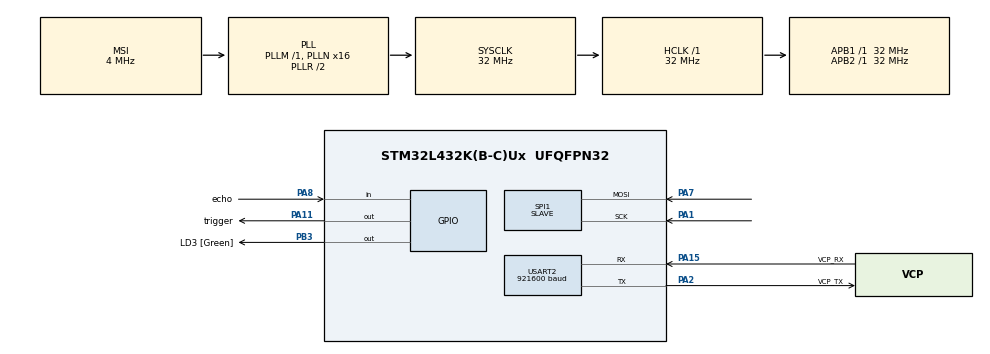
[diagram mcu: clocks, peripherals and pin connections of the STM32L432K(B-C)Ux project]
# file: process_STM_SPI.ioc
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Mcu.Family=STM32L4
Mcu.Name=STM32L432K(B-C)Ux
Mcu.Package=UFQFPN32
NVIC.PriorityGroup=NVIC_PRIORITYGROUP_4
NVIC.SPI1_IRQn=true\:0\:0\:false\:false\:true\:true\:true\:true
NVIC.USART2_IRQn=true\:0\:0\:false\:false\:true\:true\:true\:true
PA0.GPIO_Label=MCO [High speed clock in]
PA0.Mode=HSE-External-Clock-Source-for-LittleOrca
PA0.Signal=RCC_CK_IN
PA1.Mode=RX_Only_Simplex_Unidirect_Slave
PA1.Signal=SPI1_SCK
PA11.GPIO_Label=trigger
PA11.Signal=GPIO_Output
PA13\ (JTMS-SWDIO).GPIO_Label=SWDIO
PA13\ (JTMS-SWDIO).Mode=Serial_Wire
PA13\ (JTMS-SWDIO).Signal=SYS_JTMS-SWDIO
PA14\ (JTCK-SWCLK).GPIO_Label=SWCLK
PA14\ (JTCK-SWCLK).Mode=Serial_Wire
PA14\ (JTCK-SWCLK).Signal=SYS_JTCK-SWCLK
PA15\ (JTDI).GPIO_Label=VCP_RX
PA15\ (JTDI).Mode=Asynchronous
PA15\ (JTDI).Signal=USART2_RX
PA2.GPIO_Label=VCP_TX
PA2.Mode=Asynchronous
PA2.Signal=USART2_TX
PA7.Mode=RX_Only_Simplex_Unidirect_Slave
PA7.Signal=SPI1_MOSI
PA8.GPIO_Label=echo
PA8.Signal=GPIO_Input
PB3\ (JTDO-TRACESWO).GPIO_Label=LD3 [Green]
PB3\ (JTDO-TRACESWO).Signal=GPIO_Output
PC14-OSC32_IN\ (PC14).Mode=LSE-External-Oscillator
PC14-OSC32_IN\ (PC14).Signal=RCC_OSC32_IN
PC15-OSC32_OUT\ (PC15).Mode=LSE-External-Oscillator
PC15-OSC32_OUT\ (PC15).Signal=RCC_OSC32_OUT
ProjectManager.HeapSize=0x200
ProjectManager.StackSize=0x400
ProjectManager.TargetToolchain=STM32CubeIDE
RCC.AHBFreq_Value=32000000
RCC.APB1Freq_Value=32000000
RCC.APB1TimFreq_Value=32000000
RCC.APB2Freq_Value=32000000
RCC.APB2TimFreq_Value=32000000
RCC.CortexFreq_Value=32000000
RCC.HCLKFreq_Value=32000000
RCC.HSE_VALUE=8000000
RCC.HSI16_VALUE=16000000
RCC.HSI48_VALUE=48000000
RCC.HSI_VALUE=16000000
RCC.MSI_VALUE=4000000
RCC.PLLMUL=RCC_PLLMUL_4
RCC.PLLN=16
RCC.SYSCLKFreq_VALUE=32000000
RCC.SYSCLKSource=RCC_SYSCLKSOURCE_PLLCLK
RCC.VCOOutputFreq_Value=64000000
SPI1.DataSize=SPI_DATASIZE_12BIT
SPI1.Direction=SPI_DIRECTION_2LINES_RXONLY
SPI1.Mode=SPI_MODE_SLAVE
SPI1.VirtualType=VM_SLAVE
TIM16.Prescaler=31
USART2.BaudRate=921600
USART2.VirtualMode-Asynchronous=VM_ASYNC
VP_TIM16_VS_ClockSourceINT.Mode=Enable_Timer
board=NUCLEO-L432KC

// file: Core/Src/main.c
/* USER CODE BEGIN Header */
/**
  ******************************************************************************
  * @file           : main.c
  * @brief          : Main program body
  ******************************************************************************
  * @attention
  *
  * Copyright (c) 2026 STMicroelectronics.
  * All rights reserved.
  *
  * This software is licensed under terms that can be found in the LICENSE file
  * in the root directory of this software component.
  * If no LICENSE file comes with this software, it is provided AS-IS.
  *
  ******************************************************************************
  */
/* USER CODE END Header */
#include "main.h"

SPI_HandleTypeDef hspi1;

TIM_HandleTypeDef htim16;

UART_HandleTypeDef huart2;

/* USER CODE BEGIN PV */
#define MAX_LEN 1000
#define MOVING_LEN 10
#define OUTLIER 2048

uint8_t buffer[2][MAX_LEN];
int SPI_rec = 0;
int UART_trans;
int buffer_index = 0;
uint16_t received_byte[2];
int is_UARTING = 0;
int buffer_flag = 0;
//uint32_t average_sum = 0;

int is_distanceTrigger = 0;
int is_sendValid = 1;
uint16_t average_array[MOVING_LEN] = {0};
uint8_t comp_buffer;

/* USER CODE END PV */

void SystemClock_Config(void);
static void MX_GPIO_Init(void);
static void MX_USART2_UART_Init(void);
static void MX_SPI1_Init(void);
static void MX_TIM16_Init(void);

/* USER CODE BEGIN 0 */
/*
uint8_t get_average(uint16_t array[], int len, uint16_t value){
	 for(int i = 1; i < len; i++){
	        array[i-1] = array[i];
	    }
	 array[len-1] = value;
    uint32_t sum = 0;
    for (int i = 0; i < len; i++){
        sum += array[i];
    }
    uint16_t average = sum/len;
    return (uint8_t)average;
}

void change_array(uint16_t array[], int len, uint16_t value){
    for(int i = 1; i < len; i++){
        array[i-1] = array[i];
    }
    array[len-1] = value;
}
*/
void HAL_SPI_RxCpltCallback(SPI_HandleTypeDef *hspi){

	if (buffer_index < MAX_LEN){
		//get average in line due to it being faster than calling functions as no jumping is required
		uint16_t down_sample = (received_byte[0] + received_byte[1])/2;
		if(abs((int)down_sample-OUTLIER) > 2000){
			buffer[SPI_rec][buffer_index] = (uint8_t)(128);

		}else{
		uint32_t average_sum = down_sample;
		for (int i = 0; i<MOVING_LEN-1; i++){
			average_sum += average_array[i];
			average_array[i]= average_array[i+1];
		}
		average_array[MOVING_LEN-1] = down_sample;

		//1 array 2 buffers, SPI_rec switches between 1 and 0 depending on which one is being
		//UARTed (got idea of using a 2 index array instead of 2 separate arrays but implementation is my own)
		buffer[SPI_rec][buffer_index] = (uint8_t)((average_sum/MOVING_LEN)>>4);
		}

		buffer_index++;
	}
	//buffer is full check that UARTing is complete
	if(buffer_index >= MAX_LEN && is_sendValid == 1 && is_UARTING == 0){
		//raise buffer flag so CPU knows it can start UARTing again
		buffer_flag = 1;
		//switch array to receive into
		SPI_rec = SPI_rec ^1;
		//buffer index goes back to 0
		buffer_index = 0;

		}
	//call spi receive again so that interrupt will fire again
	HAL_SPI_Receive_IT(&hspi1, received_byte, 2);

}

void HAL_UART_TxCpltCallback(UART_HandleTypeDef *huart){
	//let SPI callback know that it can switch the arrays
	is_UARTING = 0;

}

void HAL_UART_RxCpltCallback(UART_HandleTypeDef *huart){
	//receiving this means the user is deciding between distance trigger mode and regular
	HAL_UART_Receive_IT(&huart2, &comp_buffer, 1);
	//buffer_index = 0;
	//distance trigger logic
	if (comp_buffer == '1'){

		is_distanceTrigger = 1;
	}else{
		is_distanceTrigger = 0;
		is_sendValid = 1;
	}

}

/* USER CODE END 0 */

int main(void)
{

  /* MCU Configuration--------------------------------------------------------*/

  /* Reset of all peripherals, Initializes the Flash interface and the Systick. */
  HAL_Init();

  /* Configure the system clock */
  SystemClock_Config();

  /* Initialize all configured peripherals */
  MX_GPIO_Init();
  MX_USART2_UART_Init();
  MX_SPI1_Init();
  MX_TIM16_Init();

  /* Infinite loop */
  /* USER CODE BEGIN WHILE */
  //start timers, start interrupt functions initialise US sensor variables
	HAL_UART_Receive_IT(&huart2, &comp_buffer, 1);
	HAL_SPI_Receive_IT(&hspi1, received_byte, 2);
	HAL_TIM_Base_Start(&htim16);
	__HAL_TIM_SET_COUNTER(&htim16, 0);
	float time;
	float distance;
  while (1)
  {
	  //buffer_flag means UARTing should commence
	  if (buffer_flag == 1){
		  //XOR to flip bit from 1 to 0 or back to know which array to send
		  //opposite of the array that is currently being filled
		  UART_trans = SPI_rec ^ 1;
		  //set global variables so that array being sent isnt being received
		  //to and make sure system doesnt try send an array again
		  is_UARTING = 1;
		  buffer_flag = 0;
		  HAL_UART_Transmit_IT(&huart2, buffer[UART_trans], MAX_LEN);
	  }
		if (is_distanceTrigger == 1){
			//HAL_GPIO_WritePin(LD3_GPIO_Port, LD3_Pin, 1);
		  if (__HAL_TIM_GET_COUNTER(&htim16) <= 10){
			  HAL_GPIO_WritePin(trigger_GPIO_Port, trigger_Pin, 1);
		  }else{
			  HAL_GPIO_WritePin(trigger_GPIO_Port, trigger_Pin, 0);
			  //HAL_GPIO_WritePin(LD3_GPIO_Port, LD3_Pin, 1);
			  if (HAL_GPIO_ReadPin(echo_GPIO_Port, echo_Pin) == 1){
				  __HAL_TIM_SET_COUNTER(&htim16, 0);
				  //HAL_GPIO_WritePin(LD3_GPIO_Port, LD3_Pin, 1);
				  while(HAL_GPIO_ReadPin(echo_GPIO_Port, echo_Pin) == 1){
					  continue;
				  }
				  time = __HAL_TIM_GET_COUNTER(&htim16);
				  distance = (time/58.309);
				  //HAL_GPIO_WritePin(LD3_GPIO_Port, LD3_Pin, 1);
				  if (distance < 10){
					  	  HAL_GPIO_WritePin(LD3_GPIO_Port, LD3_Pin, 1);
					  	  is_sendValid = 1;
					  } else {
						  HAL_GPIO_WritePin(LD3_GPIO_Port, LD3_Pin, 0);
						  is_sendValid = 0;
					  }
				  __HAL_TIM_SET_COUNTER(&htim16, 0);
				  while (__HAL_TIM_GET_COUNTER(&htim16) < 60000) {
					  if (buffer_flag == 1){
						  //XOR to flip bit from 1 to 0 or back to know which array to use
						  UART_trans = SPI_rec ^ 1;
						  is_UARTING = 1;
						  HAL_UART_Transmit_IT(&huart2, buffer[UART_trans], MAX_LEN);
						  buffer_flag = 0;
					  }
				  }

				  __HAL_TIM_SET_COUNTER(&htim16, 0);
				  }

			  }
		  }

    /* USER CODE END WHILE */

  }
}

void SystemClock_Config(void)
{
  RCC_OscInitTypeDef RCC_OscInitStruct = {0};
  RCC_ClkInitTypeDef RCC_ClkInitStruct = {0};

  /** Configure the main internal regulator output voltage
  */
  if (HAL_PWREx_ControlVoltageScaling(PWR_REGULATOR_VOLTAGE_SCALE1) != HAL_OK)
  {
    Error_Handler();
  }

  /** Configure LSE Drive Capability
  */
  HAL_PWR_EnableBkUpAccess();
  __HAL_RCC_LSEDRIVE_CONFIG(RCC_LSEDRIVE_LOW);

  /** Initializes the RCC Oscillators according to the specified parameters
  * in the RCC_OscInitTypeDef structure.
  */
  RCC_OscInitStruct.OscillatorType = RCC_OSCILLATORTYPE_LSE|RCC_OSCILLATORTYPE_MSI;
  RCC_OscInitStruct.LSEState = RCC_LSE_ON;
  RCC_OscInitStruct.MSIState = RCC_MSI_ON;
  RCC_OscInitStruct.MSICalibrationValue = 0;
  RCC_OscInitStruct.MSIClockRange = RCC_MSIRANGE_6;
  RCC_OscInitStruct.PLL.PLLState = RCC_PLL_ON;
  RCC_OscInitStruct.PLL.PLLSource = RCC_PLLSOURCE_MSI;
  RCC_OscInitStruct.PLL.PLLM = 1;
  RCC_OscInitStruct.PLL.PLLN = 16;
  RCC_OscInitStruct.PLL.PLLP = RCC_PLLP_DIV7;
  RCC_OscInitStruct.PLL.PLLQ = RCC_PLLQ_DIV2;
  RCC_OscInitStruct.PLL.PLLR = RCC_PLLR_DIV2;
  if (HAL_RCC_OscConfig(&RCC_OscInitStruct) != HAL_OK)
  {
    Error_Handler();
  }

  /** Initializes the CPU, AHB and APB buses clocks
  */
  RCC_ClkInitStruct.ClockType = RCC_CLOCKTYPE_HCLK|RCC_CLOCKTYPE_SYSCLK
                              |RCC_CLOCKTYPE_PCLK1|RCC_CLOCKTYPE_PCLK2;
  RCC_ClkInitStruct.SYSCLKSource = RCC_SYSCLKSOURCE_PLLCLK;
  RCC_ClkInitStruct.AHBCLKDivider = RCC_SYSCLK_DIV1;
  RCC_ClkInitStruct.APB1CLKDivider = RCC_HCLK_DIV1;
  RCC_ClkInitStruct.APB2CLKDivider = RCC_HCLK_DIV1;

  if (HAL_RCC_ClockConfig(&RCC_ClkInitStruct, FLASH_LATENCY_1) != HAL_OK)
  {
    Error_Handler();
  }

  /** Enable MSI Auto calibration
  */
  HAL_RCCEx_EnableMSIPLLMode();
}

static void MX_SPI1_Init(void)
{

  /* SPI1 parameter configuration*/
  hspi1.Instance = SPI1;
  hspi1.Init.Mode = SPI_MODE_SLAVE;
  hspi1.Init.Direction = SPI_DIRECTION_2LINES_RXONLY;
  hspi1.Init.DataSize = SPI_DATASIZE_12BIT;
  hspi1.Init.CLKPolarity = SPI_POLARITY_LOW;
  hspi1.Init.CLKPhase = SPI_PHASE_1EDGE;
  hspi1.Init.NSS = SPI_NSS_SOFT;
  hspi1.Init.FirstBit = SPI_FIRSTBIT_MSB;
  hspi1.Init.TIMode = SPI_TIMODE_DISABLE;
  hspi1.Init.CRCCalculation = SPI_CRCCALCULATION_DISABLE;
  hspi1.Init.CRCPolynomial = 7;
  hspi1.Init.CRCLength = SPI_CRC_LENGTH_DATASIZE;
  hspi1.Init.NSSPMode = SPI_NSS_PULSE_DISABLE;
  if (HAL_SPI_Init(&hspi1) != HAL_OK)
  {
    Error_Handler();
  }

}

static void MX_TIM16_Init(void)
{

  htim16.Instance = TIM16;
  htim16.Init.Prescaler = 31;
  htim16.Init.CounterMode = TIM_COUNTERMODE_UP;
  htim16.Init.Period = 65535;
  htim16.Init.ClockDivision = TIM_CLOCKDIVISION_DIV1;
  htim16.Init.RepetitionCounter = 0;
  htim16.Init.AutoReloadPreload = TIM_AUTORELOAD_PRELOAD_DISABLE;
  if (HAL_TIM_Base_Init(&htim16) != HAL_OK)
  {
    Error_Handler();
  }

}

static void MX_USART2_UART_Init(void)
{

  huart2.Instance = USART2;
  huart2.Init.BaudRate = 921600;
  huart2.Init.WordLength = UART_WORDLENGTH_8B;
  huart2.Init.StopBits = UART_STOPBITS_1;
  huart2.Init.Parity = UART_PARITY_NONE;
  huart2.Init.Mode = UART_MODE_TX_RX;
  huart2.Init.HwFlowCtl = UART_HWCONTROL_NONE;
  huart2.Init.OverSampling = UART_OVERSAMPLING_16;
  huart2.Init.OneBitSampling = UART_ONE_BIT_SAMPLE_DISABLE;
  huart2.AdvancedInit.AdvFeatureInit = UART_ADVFEATURE_NO_INIT;
  if (HAL_UART_Init(&huart2) != HAL_OK)
  {
    Error_Handler();
  }

}

static void MX_GPIO_Init(void)
{
  GPIO_InitTypeDef GPIO_InitStruct = {0};

  /* GPIO Ports Clock Enable */
  __HAL_RCC_GPIOC_CLK_ENABLE();
  __HAL_RCC_GPIOA_CLK_ENABLE();
  __HAL_RCC_GPIOB_CLK_ENABLE();

  /*Configure GPIO pin Output Level */
  HAL_GPIO_WritePin(trigger_GPIO_Port, trigger_Pin, GPIO_PIN_RESET);

  /*Configure GPIO pin Output Level */
  HAL_GPIO_WritePin(LD3_GPIO_Port, LD3_Pin, GPIO_PIN_RESET);

  /*Configure GPIO pin : echo_Pin */
  GPIO_InitStruct.Pin = echo_Pin;
  GPIO_InitStruct.Mode = GPIO_MODE_INPUT;
  GPIO_InitStruct.Pull = GPIO_NOPULL;
  HAL_GPIO_Init(echo_GPIO_Port, &GPIO_InitStruct);

  /*Configure GPIO pin : trigger_Pin */
  GPIO_InitStruct.Pin = trigger_Pin;
  GPIO_InitStruct.Mode = GPIO_MODE_OUTPUT_PP;
  GPIO_InitStruct.Pull = GPIO_NOPULL;
  GPIO_InitStruct.Speed = GPIO_SPEED_FREQ_LOW;
  HAL_GPIO_Init(trigger_GPIO_Port, &GPIO_InitStruct);

  /*Configure GPIO pin : LD3_Pin */
  GPIO_InitStruct.Pin = LD3_Pin;
  GPIO_InitStruct.Mode = GPIO_MODE_OUTPUT_PP;
  GPIO_InitStruct.Pull = GPIO_NOPULL;
  GPIO_InitStruct.Speed = GPIO_SPEED_FREQ_LOW;
  HAL_GPIO_Init(LD3_GPIO_Port, &GPIO_InitStruct);

}

void Error_Handler(void)
{
  __disable_irq();
  while (1)
  {
  }
}
